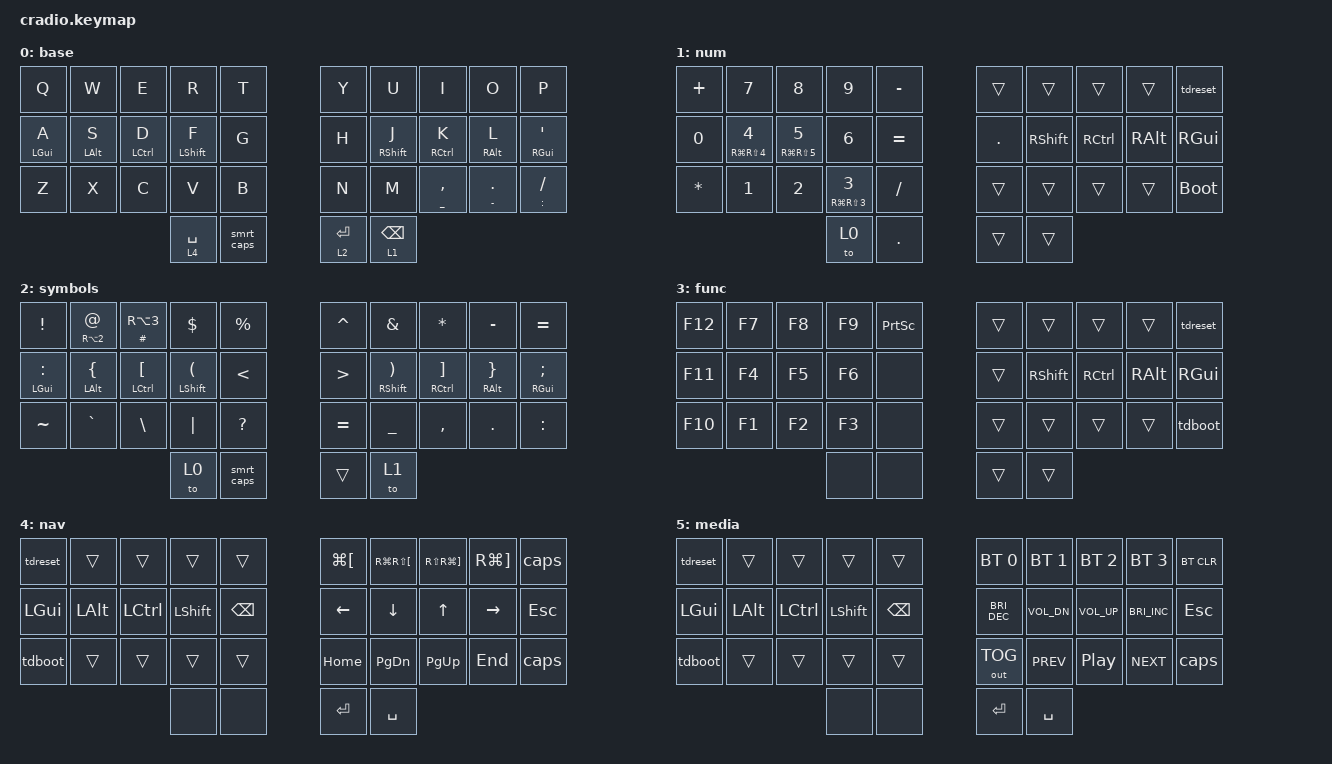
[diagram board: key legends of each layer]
// COPYRIGHT (C) 2022 THE ZMK CONTRIBUTORS
// SPDX-License-Identifier: MIT

#include <behaviors.dtsi>
#include <dt-bindings/zmk/bt.h>
#include <dt-bindings/zmk/keys.h>
#include <dt-bindings/zmk/outputs.h>

// Home row mods macro

#define HRML(k1,k2,k3,k4) &ht LGUI k1  &ht LALT k2  &ht LCTRL k3  &ht LSHFT k4
#define HRMR(k1,k2,k3,k4) &ht RSHFT k1  &ht RCTRL k2  &ht RALT k3  &ht RGUI k4

// Layer definitions

#define BASE 0
#define NUM 1
#define SYM 2
#define FNC 3
#define NAV 4
#define MEDIA 5
#define SETTINGS 6

&mt {
    tapping-term-ms = <200>;
    flavor = "tap-preferred";
    quick-tap-ms = <200>;
    require-prior-idle-ms = <100>;
};

/ {
    behaviors {
        lhmr: left_hmr {
            compatible = "zmk,behavior-hold-tap";
            #binding-cells = <2>;
            flavor = "balanced";
            tapping-term-ms = <250>;
            quick-tap-ms = <200>;
            require-prior-idle-ms = <160>;
            bindings = <&kp>, <&kp>;

            label = "LEFT_HMR";
            hold-trigger-key-positions = <5 6 15 16 25 26 32 33 7 8 9 17 18 19 27 28 29 30 31>;
            hold-trigger-on-release;
        };

        rhmr: rhmr {
            compatible = "zmk,behavior-hold-tap";
            #binding-cells = <2>;
            flavor = "balanced";
            tapping-term-ms = <250>;
            quick-tap-ms = <200>;
            require-prior-idle-ms = <160>;
            bindings = <&kp>, <&kp>;

            label = "Right_hmr";
            hold-trigger-on-release;
            hold-trigger-key-positions = <0 1 2 3 4 10 11 12 13 14 20 21 22 23 24 30 31 32 33>;
        };

        caps: shift_caps {
            compatible = "zmk,behavior-mod-morph";
            #binding-cells = <0>;
            bindings = <&caps_word>, <&kp CAPS>;

            mods = <(MOD_LSFT|MOD_RSFT)>;
        };

        tdboot: tap_dance_boot {
            compatible = "zmk,behavior-tap-dance";
            #binding-cells = <0>;
            tapping-term-ms = <500>;
            bindings = <&none>, <&bootloader>;
        };

        tdreset: tap_dance_reset {
            compatible = "zmk,behavior-tap-dance";
            #binding-cells = <0>;
            tapping-term-ms = <500>;
            bindings = <&none>, <&sys_reset>;
        };

        tdance: tap_dance {
            compatible = "zmk,behavior-tap-dance";
            #binding-cells = <0>;
            tapping-term-ms = <200>;
            bindings = <&kp>, <&kp>;
        };

        rlt: repeat_layer_tog {
            compatible = "zmk,behavior-hold-tap";
            label = "Repeat_layer_toggle";
            bindings = <&mo>, <&kp>;

            #binding-cells = <2>;
            tapping-term-ms = <180>;
            quick-tap-ms = <150>;
            flavor = "tap-preferred";
        };

        shifty: sticky_shift {
            compatible = "zmk,behavior-tap-dance";
            label = "SHIFTY";
            #binding-cells = <0>;
            bindings = <&skq LSHFT>, <&caps_word>;

            tapping-term-ms = <320>;
        };

        skq: sticky_key_quick {
            compatible = "zmk,behavior-sticky-key";
            label = "sticky_key_quick";
            bindings = <&kp>;
            #binding-cells = <1>;
            quick-release;
            lazy;
            release-after-ms = <1000>;
        };

        smrt_caps: smart_caps {
            compatible = "zmk,behavior-mod-morph";
            label = "SMART_CAPS";
            bindings = <&shifty>, <&kp CAPSLOCK>;

            #binding-cells = <0>;
            mods = <(MOD_LSFT|MOD_RSFT)>;
        };

        lpar: lpar {
            compatible = "zmk,behavior-mod-morph";
            label = "LPAR";
            bindings = <&kp LPAR>, <&kp LT>;

            #binding-cells = <0>;
            mods = <(MOD_LSFT|MOD_RSFT)>;
        };

        rpar: rpar {
            compatible = "zmk,behavior-mod-morph";
            label = "RPAR";
            bindings = <&kp RPAR>, <&kp GT>;

            #binding-cells = <0>;
            mods = <(MOD_LSFT|MOD_RSFT)>;
        };
    };

    combos {
        compatible = "zmk,combos";

        combo_esc_lt {
            timeout-ms = <50>;
            key-positions = <30 31>;
            bindings = <&lt 5 ESC>;
        };

        combo_delete {
            bindings = <&lt 3 DEL>;
            key-positions = <32 33>;
        };

        combo_tab {
            bindings = <&kp TAB>;
            key-positions = <2 3>;
            require-prior-idle-ms = <150>;
        };

        combo_esc {
            bindings = <&kp ESC>;
            key-positions = <1 2>;
            require-prior-idle-ms = <150>;
        };

        combo_repeat {
            bindings = <&key_repeat>;
            key-positions = <1 2 3>;
            require-prior-idle-ms = <150>;
        };

        combo_bspc {
            bindings = <&kp BSPC>;
            key-positions = <7 8>;
            require-prior-idle-ms = <150>;
        };

        combo_del {
            bindings = <&kp DELETE>;
            key-positions = <6 7 8>;
            require-prior-idle-ms = <150>;
        };

        combo_ret {
            bindings = <&kp RET>;
            key-positions = <6 7>;
            require-prior-idle-ms = <150>;
        };

        left_par {
            bindings = <&lpar>;
            key-positions = <12 13>;
        };

        rpar {
            bindings = <&rpar>;
            key-positions = <17 16>;
        };

        lbkt {
            bindings = <&kp LBKT>;
            key-positions = <11 12>;
        };

        rbkt {
            bindings = <&kp RBKT>;
            key-positions = <17 18>;
        };
    };

    keymap {
        compatible = "zmk,keymap";

        base {
            bindings = <
&kp Q         &kp W         &kp E          &kp R          &kp T         &kp Y         &kp U          &kp I            &kp O          &kp P
&lhmr LGUI A  &lhmr LALT S  &lhmr LCTRL D  &lhmr LSHFT F  &kp G         &kp H         &rhmr RSHFT J  &rhmr RCTRL K    &rhmr RALT L   &rhmr RGUI SQT
&kp Z         &kp X         &kp C          &kp V          &kp B         &kp N         &kp M          &mt UNDER COMMA  &mt MINUS DOT  &mt COLON FSLH
                                           &lt 4 SPACE    &smrt_caps    &rlt 2 ENTER  &rlt 1 BSPC
            >;
        };

        num {
            bindings = <
&kp PLUS  &kp N7             &kp N8             &kp N9             &kp MINUS    &trans   &trans     &trans     &trans    &tdreset
&kp N0    &mt RG(RS(N4)) N4  &mt RG(RS(N5)) N5  &kp N6             &kp EQUAL    &kp DOT  &kp RSHFT  &kp RCTRL  &kp RALT  &kp RGUI
&kp STAR  &kp N1             &kp N2             &mt RG(RS(N3)) N3  &kp FSLH     &trans   &trans     &trans     &trans    &bootloader
                                                &to 0              &kp DOT      &trans   &trans
            >;
        };

        symbols {
            bindings = <
&kp EXCL          &mt RA(N2) AT    &mt HASH RA(N3)   &kp DLLR          &kp PRCNT     &kp CARET  &kp AMPS          &kp STAR          &kp MINUS        &kp EQUAL
&lhmr LGUI COLON  &lhmr LALT LBRC  &lhmr LCTRL LBKT  &lhmr LSHFT LPAR  &kp LT        &kp GT     &rhmr RSHFT RPAR  &rhmr RCTRL RBKT  &rhmr RALT RBRC  &rhmr RGUI SEMI
&kp TILDE         &kp GRAVE        &kp BSLH          &kp PIPE          &kp QMARK     &kp EQUAL  &kp UNDER         &kp COMMA         &kp DOT          &kp COLON
                                                     &to 0             &smrt_caps    &trans     &to 1
            >;
        };

        func {
            bindings = <
&kp F12  &kp F7  &kp F8  &kp F9  &kp PRINTSCREEN    &trans  &trans     &trans     &trans    &tdreset
&kp F11  &kp F4  &kp F5  &kp F6  &none              &trans  &kp RSHFT  &kp RCTRL  &kp RALT  &kp RGUI
&kp F10  &kp F1  &kp F2  &kp F3  &none              &trans  &trans     &trans     &trans    &tdboot
                         &none   &none              &trans  &trans
            >;
        };

        nav {
            bindings = <
&tdreset  &trans    &trans     &trans     &trans           &kp LG(LEFT_BRACKET)  &kp RG(RS(LEFT_BRACKET))  &kp RS(RG(RBKT))  &kp RG(RIGHT_BRACKET)  &caps
&kp LGUI  &kp LALT  &kp LCTRL  &kp LSHFT  &kp BACKSPACE    &kp LEFT              &kp DOWN                  &kp UP            &kp RIGHT              &kp ESC
&tdboot   &trans    &trans     &trans     &trans           &kp HOME              &kp PG_DN                 &kp PG_UP         &kp END                &caps
                               &none      &none            &kp ENTER             &kp SPACE
            >;
        };

        media {
            bindings = <
&tdreset  &trans    &trans     &trans     &trans           &bt BT_SEL 0   &bt BT_SEL 1  &bt BT_SEL 2  &bt BT_SEL 3   &bt BT_CLR
&kp LGUI  &kp LALT  &kp LCTRL  &kp LSHFT  &kp BACKSPACE    &kp C_BRI_DEC  &kp C_VOL_DN  &kp C_VOL_UP  &kp C_BRI_INC  &kp ESC
&tdboot   &trans    &trans     &trans     &trans           &out OUT_TOG   &kp C_PREV    &kp C_PP      &kp C_NEXT     &caps
                               &none      &none            &kp ENTER      &kp SPACE
            >;
        };
    };
};
